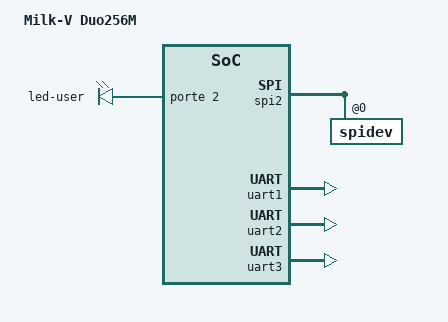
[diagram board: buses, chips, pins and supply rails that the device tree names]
/dts-v1/;
#include "soph_base_riscv.dtsi"
#include "soph_asic_qfn.dtsi"
#include "soph_asic_sd.dtsi"
#include "soph_default_memmap.dtsi"

/ {
	model = "Milk-V Duo256M";

	leds {
		compatible = "gpio-leds";

		led-user {
			gpios = <&porte 2 GPIO_ACTIVE_HIGH>;
			linux,default-trigger = "activity";
		};
	};
};

&mipi_rx {
	snsr-reset = <&portc 17 GPIO_ACTIVE_LOW>, <&portc 17 GPIO_ACTIVE_LOW>, <&portc 17 GPIO_ACTIVE_LOW>;
};

&i2c0 {
	status = "disabled";
};

&i2c4 {
	status = "disabled";
};

&spi2 {
	status = "okay";

	spidev@0 {
		status = "okay";
	};
};

&dac {
	mute-gpio-r = <&porte 1 GPIO_ACTIVE_LOW>;
};

&uart1 {
	status = "okay";
};

&uart2 {
	status = "okay";
};

&uart3 {
	status = "okay";
};

/* gpio porte 2 is connected to led */
&vo {
	reset-gpio = <&porte 3 GPIO_ACTIVE_LOW>;
};
